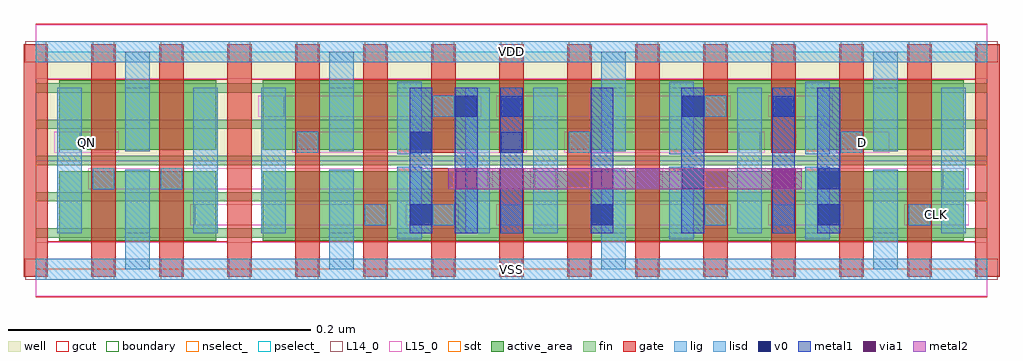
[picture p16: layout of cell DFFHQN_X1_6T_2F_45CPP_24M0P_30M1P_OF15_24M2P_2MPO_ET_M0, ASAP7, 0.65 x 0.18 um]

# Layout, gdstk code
import gdstk
lib = gdstk.Library(unit=1e-6, precision=2.5e-10)
def R(c, l, rs):  # rectangles x0, y0, x1, y1
    for r in rs: c.add(gdstk.rectangle(r[:2], r[2:], *l))
def A(c, l, x, y, w, h, nx, ny, dx, dy):  # array of equal rectangles
    R(c, l, [(x+i*dx, y+j*dy, x+i*dx+w, y+j*dy+h) for i in range(nx) for j in range(ny)])
well = (1, 0)
fin = (2, 0)
gate = (7, 0)
gcut = (10, 0)
active_area = (11, 0)
nselect_ = (12, 0)
pselect_ = (13, 0)
L14_0 = (14, 0)
L15_0 = (15, 0)
lig = (16, 0)
lisd = (17, 0)
v0 = (18, 0)
metal1 = (19, 0)
metal2 = (20, 0)
via1 = (21, 0)
sdt = (88, 0)
boundary = (100, 0)

dffhqn_x1_6t_2f_45cpp_24 = lib.new_cell('DFFHQN_X1_6T_2F_45CPP_24M0P_30M1P_OF15_24M2P_2MPO_ET_M0')
R(dffhqn_x1_6t_2f_45cpp_24, well, [(0,0.072,0.63,0.144)])
A(dffhqn_x1_6t_2f_45cpp_24, fin, 0, 0.021, 0.63, 0.006, 1, 5, 0, 0.024)
A(dffhqn_x1_6t_2f_45cpp_24, gate, -0.008, -0.005, 0.016, 0.154, 6, 1, 0.045, 0)
A(dffhqn_x1_6t_2f_45cpp_24, gate, 0.532, -0.005, 0.016, 0.154, 3, 1, 0.045, 0)
R(dffhqn_x1_6t_2f_45cpp_24, gate, [(0.262,-0.005,0.278,0.067), (0.307,-0.005,0.323,0.067), (0.352,-0.005,0.368,0.149), (0.397,-0.005,0.413,0.149), (0.442,-0.005,0.458,0.067), (0.487,-0.005,0.503,0.067), (0.262,0.077,0.278,0.149), (0.307,0.077,0.323,0.149), (0.442,0.077,0.458,0.149), (0.487,0.077,0.503,0.149)])
R(dffhqn_x1_6t_2f_45cpp_24, gcut, [(0,-0.0185,0.63,0.0185), (-0.008,-0.005,0.008,0.149), (0.127,-0.005,0.143,0.149), (0.622,-0.005,0.638,0.149), (0,0.1255,0.63,0.1625)])
A(dffhqn_x1_6t_2f_45cpp_24, active_area, 0.1505, 0.019, 0.059, 0.046, 10, 2, 0.045, 0.06)
R(dffhqn_x1_6t_2f_45cpp_24, active_area, [(0.0155,0.019,0.0745,0.065), (0.0605,0.019,0.1195,0.065), (0.0155,0.079,0.0745,0.125), (0.0605,0.079,0.1195,0.125)])
R(dffhqn_x1_6t_2f_45cpp_24, nselect_, [(0,0,0.63,0.072)])
R(dffhqn_x1_6t_2f_45cpp_24, pselect_, [(0,0.072,0.63,0.144)])
A(dffhqn_x1_6t_2f_45cpp_24, L14_0, -0.007, -0.007, 0.014, 0.014, 15, 2, 0.045, 0.144)
A(dffhqn_x1_6t_2f_45cpp_24, L14_0, 0.218, 0.029, 0.014, 0.014, 3, 1, 0.045, 0)
R(dffhqn_x1_6t_2f_45cpp_24, L14_0, [(0.1055,0.029,0.1195,0.043), (0.443,0.029,0.457,0.043), (0.488,0.029,0.502,0.043), (0.578,0.029,0.592,0.043), (0.038,0.053,0.052,0.067), (0.083,0.053,0.097,0.067), (0.2855,0.053,0.2995,0.067), (0.3305,0.053,0.3445,0.067), (0.398,0.053,0.412,0.067), (0.6005,0.053,0.6145,0.067), (0.0155,0.077,0.0295,0.091), (0.173,0.077,0.187,0.091), (0.353,0.077,0.367,0.091), (0.4655,0.077,0.4795,0.091), (0.533,0.077,0.547,0.091), (0.1505,0.101,0.1645,0.115), (0.263,0.101,0.277,0.115), (0.308,0.101,0.322,0.115), (0.443,0.101,0.457,0.115), (0.488,0.101,0.502,0.115)])
R(dffhqn_x1_6t_2f_45cpp_24, L15_0, [(0,-0.018,0.63,0.018), (0.1025,0.029,0.235,0.043), (0.245,0.029,0.28,0.043), (0.305,0.029,0.46,0.043), (0.485,0.029,0.535,0.043), (0.575,0.029,0.6175,0.043), (0.035,0.053,0.3025,0.067), (0.3275,0.053,0.415,0.067), (0.425,0.053,0.6175,0.067), (0.0125,0.077,0.055,0.091), (0.17,0.077,0.325,0.091), (0.35,0.077,0.4825,0.091), (0.53,0.077,0.565,0.091), (0.1475,0.101,0.295,0.115), (0.305,0.101,0.46,0.115), (0.485,0.101,0.5275,0.115), (0,0.126,0.63,0.162)])
A(dffhqn_x1_6t_2f_45cpp_24, lig, 0.218, 0.029, 0.014, 0.014, 3, 1, 0.045, 0)
A(dffhqn_x1_6t_2f_45cpp_24, lig, 0.173, 0.077, 0.014, 0.014, 3, 1, 0.18, 0)
R(dffhqn_x1_6t_2f_45cpp_24, lig, [(0,-0.007,0.63,0.007), (0.443,0.029,0.457,0.043), (0.488,0.029,0.502,0.043), (0.578,0.029,0.592,0.043), (0.038,0.053,0.052,0.067), (0.083,0.053,0.097,0.067), (0.398,0.053,0.412,0.067), (0.263,0.101,0.277,0.115), (0.308,0.101,0.322,0.115), (0.443,0.101,0.457,0.115), (0.488,0.101,0.502,0.115), (0,0.137,0.63,0.151)])
A(dffhqn_x1_6t_2f_45cpp_24, lisd, 0.1945, 0, 0.016, 0.066, 3, 2, 0.18, 0.078)
A(dffhqn_x1_6t_2f_45cpp_24, lisd, 0.3295, 0.024, 0.016, 0.096, 3, 1, 0.135, 0)
R(dffhqn_x1_6t_2f_45cpp_24, lisd, [(0.0595,0,0.0755,0.066), (0.2395,0.02,0.2555,0.068), (0.4195,0.02,0.4355,0.068), (0.5095,0.02,0.5255,0.068), (0.0145,0.024,0.0305,0.12), (0.1045,0.024,0.1205,0.12), (0.1495,0.024,0.1655,0.12), (0.2845,0.024,0.3005,0.12), (0.2395,0.076,0.2555,0.124), (0.4195,0.076,0.4355,0.124), (0.5095,0.076,0.5255,0.124), (0.0595,0.078,0.0755,0.144)])
R(dffhqn_x1_6t_2f_45cpp_24, v0, [(0.248,0.029,0.262,0.043), (0.368,0.029,0.382,0.043), (0.518,0.029,0.532,0.043), (0.428,0.053,0.442,0.067), (0.518,0.053,0.532,0.067), (0.248,0.077,0.262,0.091), (0.308,0.077,0.322,0.091), (0.278,0.101,0.292,0.115), (0.308,0.101,0.322,0.115), (0.428,0.101,0.442,0.115), (0.488,0.101,0.502,0.115)])
A(dffhqn_x1_6t_2f_45cpp_24, metal1, 0.2475, 0.024, 0.015, 0.096, 3, 1, 0.03, 0)
A(dffhqn_x1_6t_2f_45cpp_24, metal1, 0.3675, 0.024, 0.015, 0.096, 3, 1, 0.06, 0)
R(dffhqn_x1_6t_2f_45cpp_24, metal1, [(0.5175,0.024,0.5325,0.12)])
R(dffhqn_x1_6t_2f_45cpp_24, metal2, [(0.273,0.053,0.507,0.067)])
R(dffhqn_x1_6t_2f_45cpp_24, via1, [(0.278,0.053,0.292,0.067), (0.368,0.053,0.382,0.067), (0.488,0.053,0.502,0.067)])
A(dffhqn_x1_6t_2f_45cpp_24, sdt, 0.3295, 0.024, 0.016, 0.096, 3, 1, 0.135, 0)
R(dffhqn_x1_6t_2f_45cpp_24, sdt, [(0.0145,0.024,0.0305,0.12), (0.0595,0.024,0.0755,0.066), (0.1045,0.024,0.1205,0.12), (0.1495,0.024,0.1655,0.12), (0.1945,0.024,0.2105,0.066), (0.2395,0.024,0.2555,0.066), (0.2845,0.024,0.3005,0.12), (0.3745,0.024,0.3905,0.066), (0.4195,0.024,0.4355,0.066), (0.5095,0.024,0.5255,0.066), (0.5545,0.024,0.5705,0.066), (0.0595,0.078,0.0755,0.12), (0.1945,0.078,0.2105,0.12), (0.2395,0.078,0.2555,0.12), (0.3745,0.078,0.3905,0.12), (0.4195,0.078,0.4355,0.12), (0.5095,0.078,0.5255,0.12), (0.5545,0.078,0.5705,0.12)])
R(dffhqn_x1_6t_2f_45cpp_24, boundary, [(0,0,0.63,0.144)])
dffhqn_x1_6t_2f_45cpp_24.add(gdstk.Label('QN', (0.0338,0.084), layer=15, texttype=251))
dffhqn_x1_6t_2f_45cpp_24.add(gdstk.Label('D', (0.5475,0.084), layer=15, texttype=251))
dffhqn_x1_6t_2f_45cpp_24.add(gdstk.Label('CLK', (0.5963,0.036), layer=15, texttype=251))
dffhqn_x1_6t_2f_45cpp_24.add(gdstk.Label('VDD', (0.315,0.144), layer=15, texttype=251))
dffhqn_x1_6t_2f_45cpp_24.add(gdstk.Label('VSS', (0.315,0), layer=15, texttype=251))
dffhqn_x1_6t_2f_45cpp_24.add(gdstk.Label('VDD', (0.315,0.144), layer=1, texttype=251))
dffhqn_x1_6t_2f_45cpp_24.add(gdstk.Label('VSS', (0.315,0), layer=3, texttype=251))

lib.write_gds('DFFHQN_X1_6T_2F_45CPP_24M0P_30M1P_OF15_24M2P_2MPO_ET_M0.gds')
